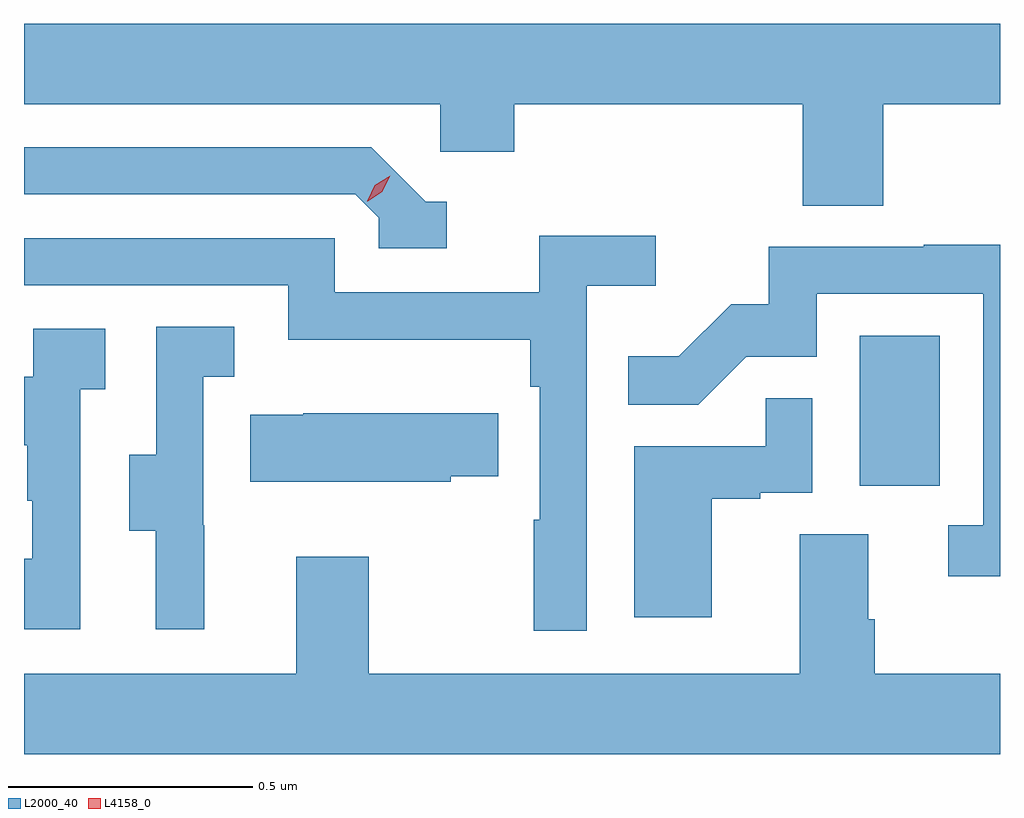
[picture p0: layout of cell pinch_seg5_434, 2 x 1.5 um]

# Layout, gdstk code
import gdstk
lib = gdstk.Library(unit=1e-6, precision=1e-09)
def R(c, l, rs):  # rectangles x0, y0, x1, y1
    for r in rs: c.add(gdstk.rectangle(r[:2], r[2:], *l))
def P(c, l, *ps):  # polygons
    for p in ps: c.add(gdstk.Polygon(p, *l))
L2000_40 = (2000, 40)
L4158_0 = (4158, 0)

pinch_seg5_434 = lib.new_cell('pinch_seg5_434')
R(pinch_seg5_434, L2000_40, [(955.238,859.974,955.402,860.281)])
P(pinch_seg5_434, L2000_40, [(955.286,860.756),(955.525,860.756),(955.525,860.92),(953.525,860.92),(953.525,860.756),(954.378,860.756),(954.378,860.658),(954.53,860.658),(954.53,860.756),(955.121,860.756),(955.121,860.548),(955.286,860.548)],
  [(954.391,860.556),(954.348,860.556),(954.237,860.667),(953.525,860.667),(953.525,860.571),(954.204,860.571),(954.252,860.523),(954.252,860.46),(954.391,860.46)],
  [(954.678,860.384),(954.82,860.384),(954.82,860.486),(954.581,860.486),(954.581,860.37),(954.162,860.37),(954.162,860.481),(953.525,860.481),(953.525,860.385),(954.066,860.385),(954.066,860.273),(954.562,860.273),(954.562,860.177),(954.582,860.177),(954.582,859.904),(954.57,859.904),(954.57,859.677),(954.678,859.677)],
  [(955.525,860.468),(955.369,860.468),(955.369,860.463),(955.051,860.463),(955.051,860.346),(954.974,860.346),(954.867,860.239),(954.763,860.239),(954.763,860.14),(954.907,860.14),(955.005,860.238),(955.149,860.238),(955.149,860.367),(955.491,860.367),(955.491,859.893),(955.419,859.893),(955.419,859.788),(955.525,859.788)],
  [(953.894,859.893),(953.892,859.893),(953.892,860.197),(953.956,860.197),(953.956,860.3),(953.796,860.3),(953.796,860.037),(953.741,860.037),(953.741,859.882),(953.795,859.882),(953.795,859.68),(953.894,859.68)],
  [(953.64,860.171),(953.692,860.171),(953.692,860.295),(953.544,860.295),(953.544,860.197),(953.525,860.197),(953.525,860.057),(953.532,860.057),(953.532,859.943),(953.542,859.943),(953.542,859.824),(953.525,859.824),(953.525,859.68),(953.64,859.68)],
  [(954.934,859.947),(955.034,859.947),(955.034,859.959),(955.14,859.959),(955.14,860.153),(955.045,860.153),(955.045,860.055),(954.776,860.055),(954.776,859.704),(954.934,859.704)],
  [(954.399,859.993),(954.497,859.993),(954.497,860.122),(954.097,860.122),(954.097,860.119),(953.989,860.119),(953.989,859.982),(954.399,859.982)],
  [(955.115,859.874),(955.115,859.588),(954.231,859.588),(954.231,859.828),(954.083,859.828),(954.083,859.588),(953.525,859.588),(953.525,859.424),(955.525,859.424),(955.525,859.588),(955.268,859.588),(955.268,859.7),(955.255,859.7),(955.255,859.874)])
P(pinch_seg5_434, L4158_0, [(954.228,860.557),(954.228,860.557),(954.244,860.59),(954.275,860.609),(954.275,860.609),(954.275,860.609),(954.259,860.576),(954.229,860.557)])

lib.write_gds('pinch_seg5_434.gds')
